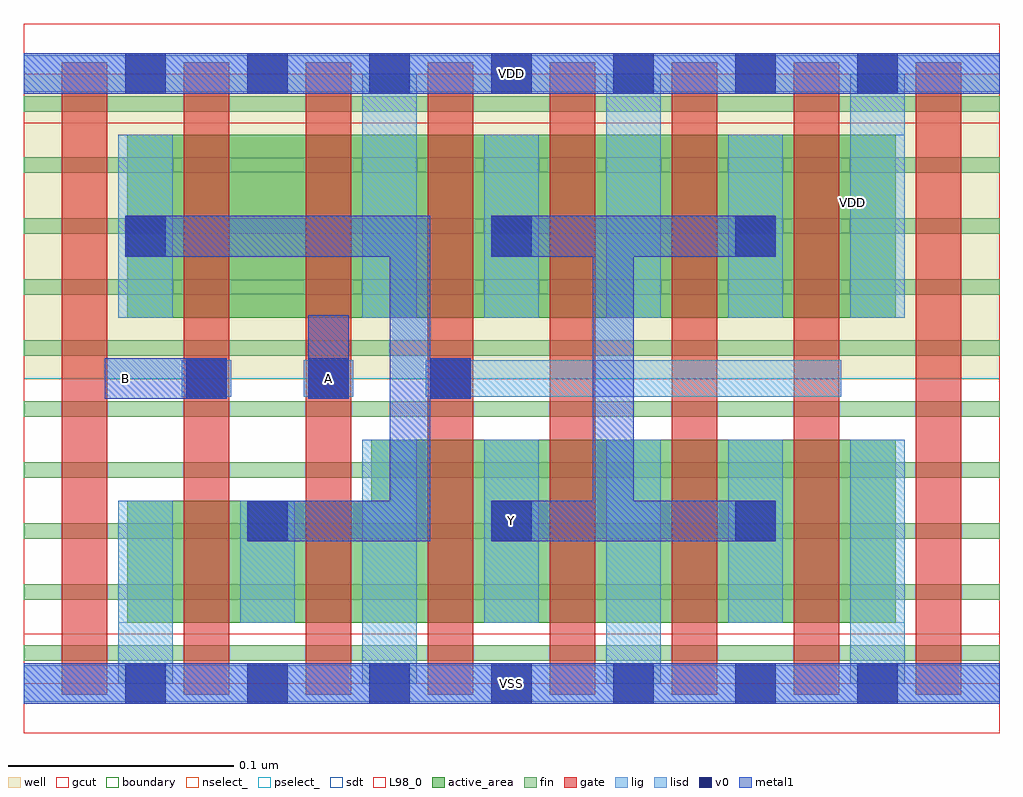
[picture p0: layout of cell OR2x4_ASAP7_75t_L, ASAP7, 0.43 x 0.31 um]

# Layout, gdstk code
import gdstk
lib = gdstk.Library(unit=1e-6, precision=2.5e-10)
def R(c, l, rs):  # rectangles x0, y0, x1, y1
    for r in rs: c.add(gdstk.rectangle(r[:2], r[2:], *l))
def A(c, l, x, y, w, h, nx, ny, dx, dy):  # array of equal rectangles
    R(c, l, [(x+i*dx, y+j*dy, x+i*dx+w, y+j*dy+h) for i in range(nx) for j in range(ny)])
def P(c, l, *ps):  # polygons
    for p in ps: c.add(gdstk.Polygon(p, *l))
well = (1, 0)
fin = (2, 0)
gate = (7, 0)
gcut = (10, 0)
active_area = (11, 0)
nselect_ = (12, 0)
pselect_ = (13, 0)
lig = (16, 0)
lisd = (17, 0)
v0 = (18, 0)
metal1 = (19, 0)
sdt = (88, 0)
L98_0 = (98, 0)
boundary = (100, 0)

or2x4_asap7_75t_l = lib.new_cell('OR2x4_ASAP7_75t_L')
R(or2x4_asap7_75t_l, well, [(0,0.135,0.432,0.27)])
A(or2x4_asap7_75t_l, fin, 0, 0.01, 0.432, 0.007, 1, 10, 0, 0.027)
A(or2x4_asap7_75t_l, gate, 0.017, -0.005, 0.02, 0.28, 8, 1, 0.054, 0)
R(or2x4_asap7_75t_l, gcut, [(0,-0.022,0.432,0.022), (0,0.248,0.432,0.292)])
R(or2x4_asap7_75t_l, active_area, [(0.046,0.162,0.386,0.243)])
P(or2x4_asap7_75t_l, active_area, [(0.046,0.027),(0.046,0.081),(0.154,0.081),(0.154,0.108),(0.386,0.108),(0.386,0.027)])
R(or2x4_asap7_75t_l, nselect_, [(0,0,0.432,0.135)])
R(or2x4_asap7_75t_l, pselect_, [(0,0.135,0.432,0.27)])
R(or2x4_asap7_75t_l, lig, [(0,-0.008,0.432,0.008), (0.07,0.127,0.092,0.143), (0.124,0.127,0.146,0.143), (0.178,0.127,0.362,0.143), (0,0.262,0.432,0.278)])
A(or2x4_asap7_75t_l, lisd, 0.15, 0, 0.024, 0.108, 3, 2, 0.108, 0.162)
R(or2x4_asap7_75t_l, lisd, [(0.042,0,0.066,0.081), (0.096,0.027,0.12,0.081), (0.204,0.027,0.228,0.108), (0.312,0.027,0.336,0.108), (0.042,0.162,0.066,0.243), (0.204,0.162,0.228,0.243), (0.312,0.162,0.336,0.243)])
A(or2x4_asap7_75t_l, v0, 0.045, -0.009, 0.018, 0.018, 7, 2, 0.054, 0.27)
A(or2x4_asap7_75t_l, v0, 0.099, 0.063, 0.018, 0.018, 3, 1, 0.108, 0)
A(or2x4_asap7_75t_l, v0, 0.072, 0.126, 0.018, 0.018, 3, 1, 0.054, 0)
R(or2x4_asap7_75t_l, v0, [(0.045,0.189,0.063,0.207), (0.207,0.189,0.225,0.207), (0.315,0.189,0.333,0.207)])
R(or2x4_asap7_75t_l, metal1, [(0,-0.009,0.432,0.009), (0.036,0.126,0.09,0.144), (0.126,0.126,0.144,0.163), (0,0.261,0.432,0.279)])
P(or2x4_asap7_75t_l, metal1, [(0.207,0.063),(0.207,0.081),(0.252,0.081),(0.252,0.189),(0.207,0.189),(0.207,0.207),(0.333,0.207),(0.333,0.189),(0.27,0.189),(0.27,0.081),(0.333,0.081),(0.333,0.063)],
  [(0.099,0.063),(0.099,0.081),(0.162,0.081),(0.162,0.189),(0.045,0.189),(0.045,0.207),(0.18,0.207),(0.18,0.144),(0.198,0.144),(0.198,0.126),(0.18,0.126),(0.18,0.063)])
A(or2x4_asap7_75t_l, sdt, 0.15, 0.027, 0.024, 0.081, 5, 2, 0.054, 0.135)
R(or2x4_asap7_75t_l, sdt, [(0.042,0.027,0.066,0.081), (0.096,0.027,0.12,0.081), (0.042,0.162,0.066,0.243)])
R(or2x4_asap7_75t_l, L98_0, [(0,0,0.432,0.27)])
R(or2x4_asap7_75t_l, boundary, [(0,0,0.432,0.27)])
or2x4_asap7_75t_l.add(gdstk.Label('A', (0.135,0.135), layer=19, texttype=251))
or2x4_asap7_75t_l.add(gdstk.Label('B', (0.045,0.135), layer=19, texttype=251))
or2x4_asap7_75t_l.add(gdstk.Label('Y', (0.216,0.072), layer=19, texttype=251))
or2x4_asap7_75t_l.add(gdstk.Label('VSS', (0.216,0), layer=19, texttype=251))
or2x4_asap7_75t_l.add(gdstk.Label('VDD', (0.216,0.27), layer=19, texttype=251))
or2x4_asap7_75t_l.add(gdstk.Label('VDD', (0.367,0.213), layer=1, texttype=251))
or2x4_asap7_75t_l.add(gdstk.Label('VSS', (0.497,0.213), layer=3, texttype=251))

lib.write_gds('OR2x4_ASAP7_75t_L.gds')
